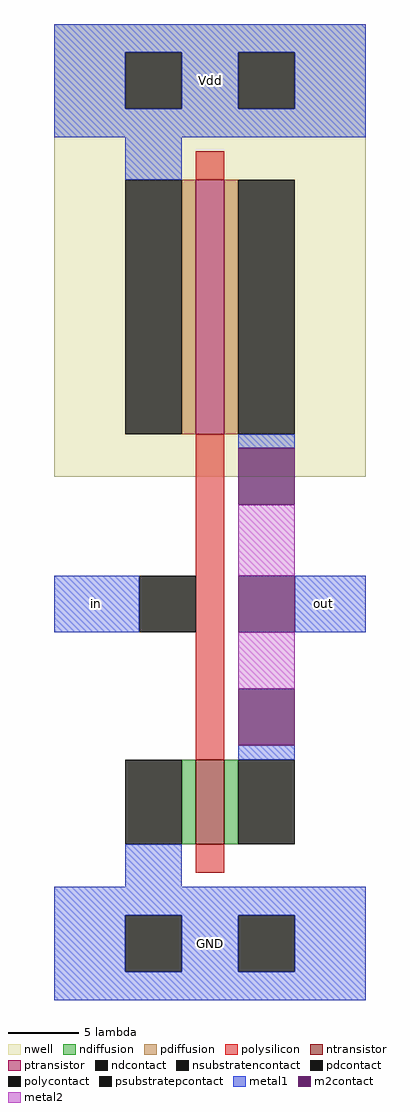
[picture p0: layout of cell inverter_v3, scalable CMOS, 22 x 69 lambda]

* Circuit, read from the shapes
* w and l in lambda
.subckt inverter_v3 GND Vdd in out
M1 out in GND GND nfet w=6 l=2
M2 out in Vdd Vdd pfet w=18 l=2
.ends

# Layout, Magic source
magic
tech scmos
<< nwell >>
rect 0 42 22 74
<< polysilicon >>
rect 10 63 12 65
rect 10 22 12 45
rect 10 14 12 16
<< ndiffusion >>
rect 9 16 10 22
rect 12 16 13 22
<< pdiffusion >>
rect 9 45 10 63
rect 12 45 13 63
<< metal1 >>
rect 0 72 22 74
rect 0 68 5 72
rect 9 68 13 72
rect 17 68 22 72
rect 0 66 22 68
rect 5 63 9 66
rect 13 44 17 45
rect 0 31 6 35
rect 17 31 22 35
rect 13 22 17 23
rect 5 13 9 16
rect 0 11 22 13
rect 0 7 5 11
rect 9 7 13 11
rect 17 7 22 11
rect 0 5 22 7
<< metal2 >>
rect 13 35 17 40
rect 13 27 17 31
<< ntransistor >>
rect 10 16 12 22
<< ptransistor >>
rect 10 45 12 63
<< polycontact >>
rect 6 31 10 35
<< ndcontact >>
rect 5 16 9 22
rect 13 16 17 22
<< pdcontact >>
rect 5 45 9 63
rect 13 45 17 63
<< m2contact >>
rect 13 40 17 44
rect 13 31 17 35
rect 13 23 17 27
<< psubstratepcontact >>
rect 5 7 9 11
rect 13 7 17 11
<< nsubstratencontact >>
rect 5 68 9 72
rect 13 68 17 72
<< labels >>
rlabel metal1 3 33 3 33 1 in
rlabel metal1 19 33 19 33 1 out
rlabel metal1 11 70 11 70 1 Vdd
rlabel metal1 11 9 11 9 1 GND
<< end >>
